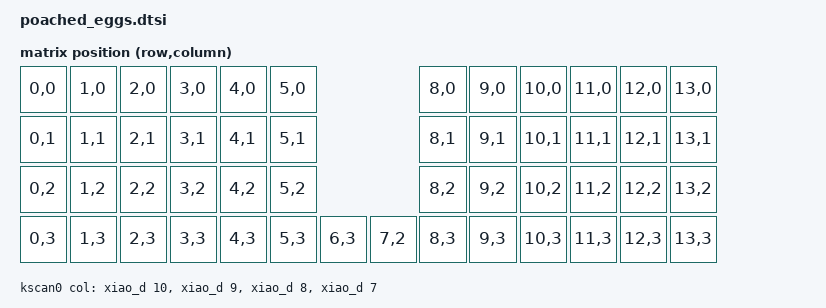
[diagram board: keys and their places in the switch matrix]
#include <dt-bindings/zmk/matrix_transform.h>

/ {
    chosen {
        zmk,kscan = &kscan0;
        zmk,matrix-transform = &default_transform;
    };

    default_transform: keymap_transform_0 {
        compatible = "zmk,matrix-transform";
        columns = <4>;
        rows = <14>;

// | L_SW1  | L_SW2  | L_SW3  | L_SW4  | L_SW5  | L_SW6  |                     | R_SW1  | R_SW2  | R_SW3  | R_SW4  | R_SW5  | R_SW6  |
// | L_SW7  | L_SW8  | L_SW9  | L_SW10 | L_SW11 | L_SW12 |                     | R_SW7  | R_SW8  | R_SW9  | R_SW10 | R_SW11 | R_SW12 |
// | L_SW13 | L_SW14 | L_SW15 | L_SW16 | L_SW17 | L_SW18 |                     | R_SW13 | R_SW14 | R_SW15 | R_SW16 | R_SW17 | R_SW18 |
// | L_SW19 | L_SW20 | L_SW21 | L_SW22 | L_SW23 | L_SW24 | L_SW25 |   | R_SW19 | R_SW20 | R_SW21 | R_SW22 | R_SW23 | R_SW24 | R_SW25 |


        map = <
RC(0,0) RC(1,0) RC(2,0) RC(3,0) RC(4,0) RC(5,0)                 RC(8,0) RC(9,0) RC(10,0) RC(11,0) RC(12,0) RC(13,0)
RC(0,1) RC(1,1) RC(2,1) RC(3,1) RC(4,1) RC(5,1)                 RC(8,1) RC(9,1) RC(10,1) RC(11,1) RC(12,1) RC(13,1)
RC(0,2) RC(1,2) RC(2,2) RC(3,2) RC(4,2) RC(5,2)                 RC(8,2) RC(9,2) RC(10,2) RC(11,2) RC(12,2) RC(13,2)
RC(0,3) RC(1,3) RC(2,3) RC(3,3) RC(4,3) RC(5,3) RC(6,3) RC(7,2) RC(8,3) RC(9,3) RC(10,3) RC(11,3) RC(12,3) RC(13,3)
        >;
    };

    kscan0: kscan {
        compatible = "zmk,kscan-gpio-matrix";
        diode-direction = "col2row";
        wakeup-source;

        col-gpios
            = <&xiao_d 10 (GPIO_ACTIVE_HIGH | GPIO_PULL_DOWN)>
            , <&xiao_d 9 (GPIO_ACTIVE_HIGH | GPIO_PULL_DOWN)>
            , <&xiao_d 8 (GPIO_ACTIVE_HIGH | GPIO_PULL_DOWN)>
            , <&xiao_d 7 (GPIO_ACTIVE_HIGH | GPIO_PULL_DOWN)>
            ;
    };
};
